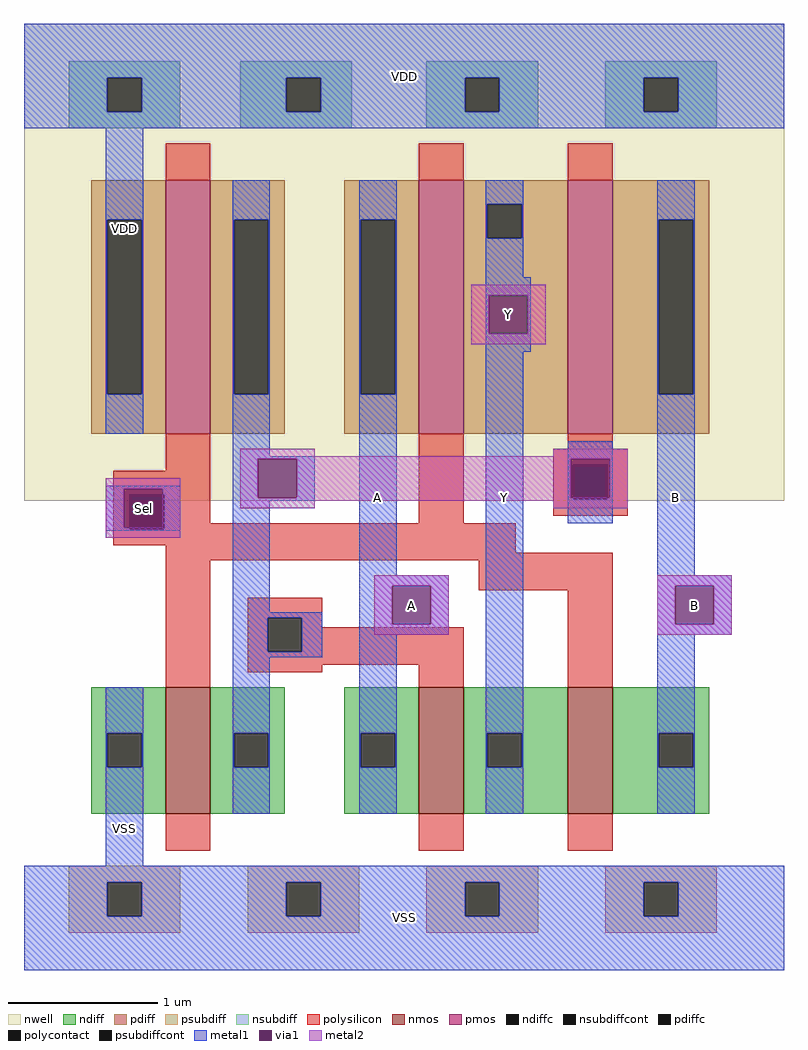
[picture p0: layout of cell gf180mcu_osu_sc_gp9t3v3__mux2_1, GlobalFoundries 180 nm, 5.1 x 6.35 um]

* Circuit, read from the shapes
.subckt gf180mcu_osu_sc_gp9t3v3__mux2_1 A B Sel Y VDD VSS
XM1 n1 Sel VSS VSS nfet_03v3 w=0.85u l=0.3u
XM2 Y n1 A VSS nfet_03v3 w=0.85u l=0.3u
XM3 B Sel Y VSS nfet_03v3 w=0.85u l=0.3u
XM4 n1 Sel VDD VDD pfet_03v3 w=1.7u l=0.3u
XM5 Y Sel A VDD pfet_03v3 w=1.7u l=0.3u
XM6 B n1 Y VDD pfet_03v3 w=1.7u l=0.3u
.ends

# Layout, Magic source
magic
tech gf180mcuA
magscale 1 10
<< nwell >>
rect 0 630 1020 1270
<< nmos >>
rect 190 210 250 380
rect 530 210 590 380
rect 730 210 790 380
<< pmos >>
rect 190 720 250 1060
rect 530 720 590 1060
rect 730 720 790 1060
<< ndiff >>
rect 90 318 190 380
rect 90 272 112 318
rect 158 272 190 318
rect 90 210 190 272
rect 250 318 350 380
rect 250 272 282 318
rect 328 272 350 318
rect 250 210 350 272
rect 430 318 530 380
rect 430 272 452 318
rect 498 272 530 318
rect 430 210 530 272
rect 590 318 730 380
rect 590 272 622 318
rect 668 272 730 318
rect 590 210 730 272
rect 790 318 920 380
rect 790 272 852 318
rect 898 272 920 318
rect 790 210 920 272
<< pdiff >>
rect 90 1007 190 1060
rect 90 773 112 1007
rect 158 773 190 1007
rect 90 720 190 773
rect 250 1007 350 1060
rect 250 773 282 1007
rect 328 773 350 1007
rect 250 720 350 773
rect 430 1007 530 1060
rect 430 773 452 1007
rect 498 773 530 1007
rect 430 720 530 773
rect 590 1028 730 1060
rect 590 982 622 1028
rect 668 982 730 1028
rect 590 720 730 982
rect 790 1007 920 1060
rect 790 773 852 1007
rect 898 773 920 1007
rect 790 720 920 773
<< ndiffc >>
rect 112 272 158 318
rect 282 272 328 318
rect 452 272 498 318
rect 622 272 668 318
rect 852 272 898 318
<< pdiffc >>
rect 112 773 158 1007
rect 282 773 328 1007
rect 452 773 498 1007
rect 622 982 668 1028
rect 852 773 898 1007
<< psubdiff >>
rect 60 118 210 140
rect 60 72 112 118
rect 158 72 210 118
rect 60 50 210 72
rect 300 118 450 140
rect 300 72 352 118
rect 398 72 450 118
rect 300 50 450 72
rect 540 118 690 140
rect 540 72 592 118
rect 638 72 690 118
rect 540 50 690 72
rect 780 118 930 140
rect 780 72 832 118
rect 878 72 930 118
rect 780 50 930 72
<< nsubdiff >>
rect 60 1198 210 1220
rect 60 1152 112 1198
rect 158 1152 210 1198
rect 60 1130 210 1152
rect 290 1198 440 1220
rect 290 1152 352 1198
rect 398 1152 440 1198
rect 290 1130 440 1152
rect 540 1198 690 1220
rect 540 1152 592 1198
rect 638 1152 690 1198
rect 540 1130 690 1152
rect 780 1198 930 1220
rect 780 1152 832 1198
rect 878 1152 930 1198
rect 780 1130 930 1152
<< psubdiffcont >>
rect 112 72 158 118
rect 352 72 398 118
rect 592 72 638 118
rect 832 72 878 118
<< nsubdiffcont >>
rect 112 1152 158 1198
rect 352 1152 398 1198
rect 592 1152 638 1198
rect 832 1152 878 1198
<< polysilicon >>
rect 190 1060 250 1110
rect 530 1060 590 1110
rect 730 1060 790 1110
rect 190 670 250 720
rect 120 638 250 670
rect 120 592 142 638
rect 188 600 250 638
rect 530 600 590 720
rect 730 700 790 720
rect 710 678 810 700
rect 710 632 737 678
rect 783 632 810 678
rect 710 610 810 632
rect 188 592 660 600
rect 120 570 660 592
rect 190 560 660 570
rect 190 550 790 560
rect 190 380 250 550
rect 610 510 790 550
rect 300 473 400 500
rect 300 427 327 473
rect 373 460 400 473
rect 373 427 590 460
rect 300 410 590 427
rect 300 400 400 410
rect 530 380 590 410
rect 730 380 790 510
rect 190 160 250 210
rect 530 160 590 210
rect 730 160 790 210
<< polycontact >>
rect 142 592 188 638
rect 737 632 783 678
rect 327 427 373 473
<< metal1 >>
rect 0 1198 1020 1270
rect 0 1152 112 1198
rect 158 1152 352 1198
rect 398 1152 592 1198
rect 638 1152 832 1198
rect 878 1152 1020 1198
rect 0 1130 1020 1152
rect 110 1007 160 1130
rect 110 773 112 1007
rect 158 773 160 1007
rect 110 720 160 773
rect 280 1007 330 1060
rect 280 773 282 1007
rect 328 773 330 1007
rect 280 690 330 773
rect 450 1007 500 1060
rect 450 773 452 1007
rect 498 773 500 1007
rect 280 686 390 690
rect 110 646 210 650
rect 110 594 134 646
rect 186 638 210 646
rect 110 592 142 594
rect 188 592 210 638
rect 110 590 210 592
rect 280 634 314 686
rect 366 634 390 686
rect 280 630 390 634
rect 280 480 330 630
rect 450 530 500 773
rect 620 1028 670 1060
rect 620 982 622 1028
rect 668 982 670 1028
rect 620 930 670 982
rect 850 1007 900 1060
rect 620 906 680 930
rect 620 854 624 906
rect 676 854 680 906
rect 620 830 680 854
rect 450 516 570 530
rect 280 473 400 480
rect 280 427 327 473
rect 373 427 400 473
rect 280 420 400 427
rect 450 464 494 516
rect 546 464 570 516
rect 450 450 570 464
rect 110 318 160 380
rect 110 272 112 318
rect 158 272 160 318
rect 110 140 160 272
rect 280 318 330 420
rect 280 272 282 318
rect 328 272 330 318
rect 280 210 330 272
rect 450 318 500 450
rect 450 272 452 318
rect 498 272 500 318
rect 450 210 500 272
rect 620 318 670 830
rect 850 773 852 1007
rect 898 773 900 1007
rect 730 686 790 710
rect 730 634 734 686
rect 786 634 790 686
rect 730 632 737 634
rect 783 632 790 634
rect 730 600 790 632
rect 620 272 622 318
rect 668 272 670 318
rect 620 210 670 272
rect 850 530 900 773
rect 850 516 950 530
rect 850 464 874 516
rect 926 464 950 516
rect 850 450 950 464
rect 850 318 900 450
rect 850 272 852 318
rect 898 272 900 318
rect 850 210 900 272
rect 0 118 1020 140
rect 0 72 112 118
rect 158 72 352 118
rect 398 72 592 118
rect 638 72 832 118
rect 878 72 1020 118
rect 0 0 1020 72
<< via1 >>
rect 134 638 186 646
rect 134 594 142 638
rect 142 594 186 638
rect 314 634 366 686
rect 624 854 676 906
rect 494 464 546 516
rect 734 678 786 686
rect 734 634 737 678
rect 737 634 783 678
rect 783 634 786 678
rect 874 464 926 516
<< metal2 >>
rect 600 906 700 920
rect 600 854 624 906
rect 676 854 700 906
rect 600 840 700 854
rect 290 690 390 700
rect 710 690 810 700
rect 290 686 810 690
rect 110 646 210 660
rect 110 594 134 646
rect 186 594 210 646
rect 290 634 314 686
rect 366 634 734 686
rect 786 634 810 686
rect 290 630 810 634
rect 290 620 390 630
rect 710 620 810 630
rect 110 580 210 594
rect 470 516 570 530
rect 470 464 494 516
rect 546 464 570 516
rect 470 450 570 464
rect 850 516 950 530
rect 850 464 874 516
rect 926 464 950 516
rect 850 450 950 464
<< labels >>
rlabel via1 s 494 464 546 516 4 A
port 1 nsew signal input
rlabel via1 s 874 464 926 516 4 B
port 2 nsew signal input
rlabel via1 s 134 594 186 646 4 Sel
port 3 nsew signal output
rlabel via1 s 624 854 676 906 4 Y
port 4 nsew signal output
rlabel metal1 s 110 720 160 1270 4 VDD
port 5 nsew power bidirectional abutment
rlabel metal1 s 110 0 160 380 4 VSS
port 6 nsew ground bidirectional abutment
rlabel metal1 s 0 1130 1020 1270 1 VDD
port 5 nsew power bidirectional abutment
rlabel metal1 s 0 0 1020 140 1 VSS
port 6 nsew ground bidirectional abutment
rlabel metal2 s 470 450 570 530 1 A
port 1 nsew signal input
rlabel metal1 s 450 210 500 1060 1 A
port 1 nsew signal input
rlabel metal1 s 450 450 570 530 1 A
port 1 nsew signal input
rlabel metal2 s 850 450 950 530 1 B
port 2 nsew signal input
rlabel metal1 s 850 210 900 1060 1 B
port 2 nsew signal input
rlabel metal1 s 850 450 950 530 1 B
port 2 nsew signal input
rlabel metal2 s 110 580 210 660 1 Sel
port 3 nsew signal output
rlabel metal1 s 110 590 210 650 1 Sel
port 3 nsew signal output
rlabel metal2 s 600 840 700 920 1 Y
port 4 nsew signal output
rlabel metal1 s 620 210 670 1060 1 Y
port 4 nsew signal output
rlabel metal1 s 620 830 680 930 1 Y
port 4 nsew signal output
<< properties >>
string FIXED_BBOX 0 0 1020 1270
string GDS_END 328530
string GDS_FILE $PDKPATH/libs.ref/gf180mcu_osu_sc_gp9t3v3/gds/gf180mcu_osu_sc_gp9t3v3.gds
string GDS_START 321316
string LEFclass CORE
string LEFsite gf180mcu_osu_sc_gp9t3v3
string LEFsymmetry X Y
<< end >>
